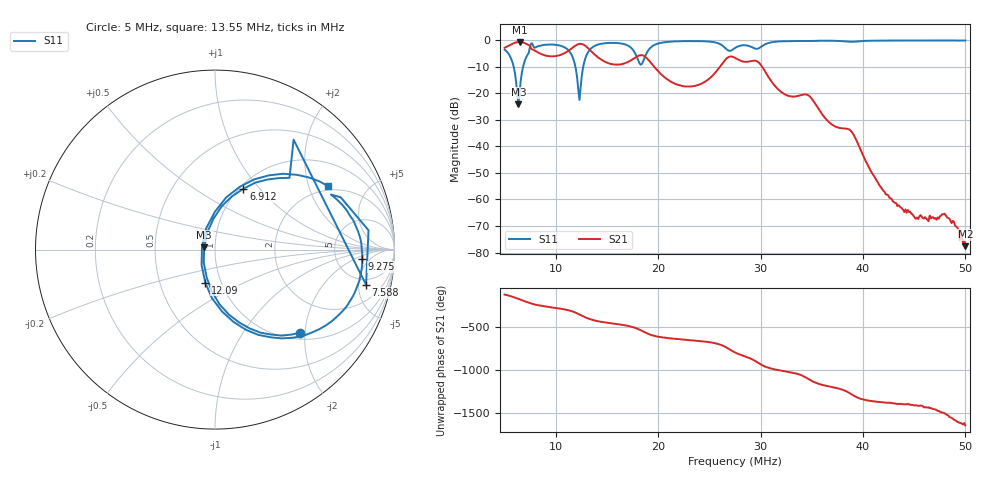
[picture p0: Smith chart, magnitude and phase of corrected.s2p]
! S11/S21 only; reverse parameters are placeholders. Device calibration unverified.
! [Saver CAL applied] C:\Users\aknya\MyProjects\rf-simulator\calibration2.cal | Ideal standards assumed | Input: NanoVNA F V2 profile | COM3 | 2026-09-08T12:02:41.2400163-04:00 | device calibration unverified
# HZ S RI R 50
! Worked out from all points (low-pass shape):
!   401 points, 5 MHz to 50 MHz, reference 50 ohm
!   highest |S21| = -0.69 dB at 6.463 MHz (marker M1); lowest = -77.6 dB at 50 MHz (marker M2)
!   |S21| within 3 dB of the highest: start of sweep to 7.823 MHz; 11.36 MHz to 13.32 MHz (1.957 MHz wide, 15.9 % of centre)
!   lowest |S11| = -24.1 dB at 6.35 MHz (marker M3), VSWR 1.13, Z = 44.3 + j1.2 ohm
!   |S11| at or under -10 dB: 5.88 MHz to 6.81 MHz (929.7 kHz wide, 14.7 % of centre); 11.91 MHz to 12.68 MHz (772.7 kHz wide, 6.29 % of centre)
!   S12 and S22 are empty: the file has one direction only
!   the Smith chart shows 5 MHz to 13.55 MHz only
!   S11 on the Smith chart (normalised r, x): 5 MHz: 1.14, -1.87; 6.912 MHz: 1.04, +0.82; 7.588 MHz: 3.99, -6.18; 9.275 MHz: 9.28, -2.99; 12.09 MHz: 0.84, -0.32; 13.55 MHz: 1.83, +2.72
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5000000  0.471 -0.4638  -0.4626 -0.5478  0 0  0 0
6350000  -0.0606 0.0135  -0.9203 0.00708  0 0  0 0
6462500  -0.0435 0.0948  -0.9193 0.093  0 0  0 0
6912500  0.1578 0.3389  -0.7922 0.3929  0 0  0 0
7587500  0.8417 -0.1959  -0.4158 0.5495  0 0  0 0
9275000  0.8205 -0.0522  0.0238 0.4986  0 0  0 0
1.13e7  0.3729 -0.4948  0.4443 0.4618  0 0  0 0
1.20875e7  -0.0542 -0.1844  0.799 0.1836  0 0  0 0
1.25375e7  6.01e-05 0.2119  0.8202 -0.1957  0 0  0 0
1.355e7  0.6323 0.3526  0.2765 -0.5229  0 0  0 0
1.5575e7  0.8509 -0.2425  -0.0906 -0.3375  0 0  0 0
1.72625e7  0.3343 -0.659  -0.3031 -0.272  0 0  0 0
1.8275e7  -0.3445 -0.00233  -0.519 0.0139  0 0  0 0
1.895e7  0.1561 0.5845  -0.335 0.2929  0 0  0 0
2.0075e7  0.7914 0.3625  -0.0471 0.2461  0 0  0 0
2.35625e7  0.9142 -0.269  0.0711 0.1168  0 0  0 0
2.75e7  0.655 -0.2727  0.0887 -0.4531  0 0  0 0
3.02e7  0.7314 -0.2733  -0.1998 0.2311  0 0  0 0
3.50375e7  0.6957 -0.665  0.0487 -0.0594  0 0  0 0
3.88625e7  0.5381 -0.7554  -0.0178 0.00679  0 0  0 0
4.2575e7  0.4411 -0.8722  0.000559 0.000933  0 0  0 0
5e7  0.1568 -0.9674  -0.000122 5.07e-05  0 0  0 0
